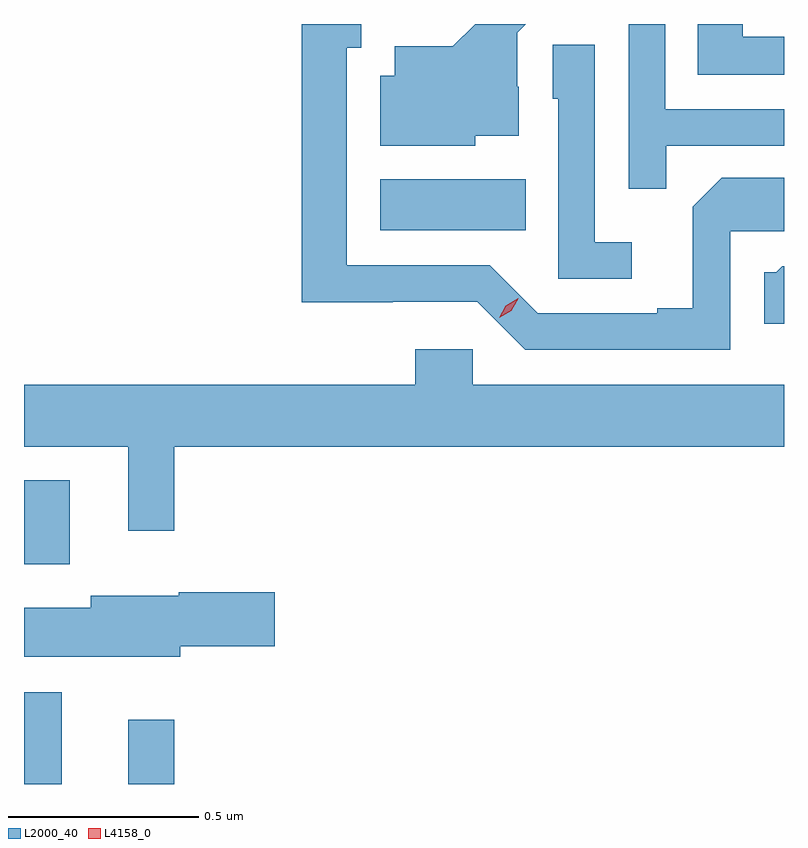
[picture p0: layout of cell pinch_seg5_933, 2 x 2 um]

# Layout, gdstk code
import gdstk
lib = gdstk.Library(unit=1e-6, precision=1e-09)
def R(c, l, rs):  # rectangles x0, y0, x1, y1
    for r in rs: c.add(gdstk.rectangle(r[:2], r[2:], *l))
def P(c, l, *ps):  # polygons
    for p in ps: c.add(gdstk.Polygon(p, *l))
L2000_40 = (2000, 40)
L4158_0 = (4158, 0)

pinch_seg5_933 = lib.new_cell('pinch_seg5_933')
R(pinch_seg5_933, L2000_40, [(737.441,877.185,737.563,877.354), (737.167,877.763,737.287,877.984), (738.104,878.642,738.488,878.776)])
P(pinch_seg5_933, L2000_40, [(739.026,878.64),(739.167,878.64),(739.167,878.78),(739.003,878.78),(738.927,878.704),(738.927,878.437),(738.833,878.437),(738.833,878.424),(738.519,878.424),(738.393,878.55),(738.016,878.55),(738.016,879.123),(738.055,879.123),(738.055,879.185),(737.898,879.185),(737.898,878.453),(738.138,878.453),(738.138,878.454),(738.36,878.454),(738.486,878.328),(739.026,878.328)],
  [(738.354,878.891),(738.469,878.891),(738.469,879.02),(738.465,879.02),(738.465,879.162),(738.488,879.185),(738.354,879.185),(738.295,879.127),(738.143,879.127),(738.143,879.049),(738.104,879.049),(738.104,878.864),(738.354,878.864)],
  [(738.857,878.865),(739.167,878.865),(739.167,878.961),(738.855,878.961),(738.855,879.185),(738.759,879.185),(738.759,878.752),(738.857,878.752)],
  [(739.167,879.152),(739.059,879.152),(739.059,879.185),(738.94,879.185),(738.94,879.051),(739.167,879.051)],
  [(738.766,878.611),(738.669,878.611),(738.669,879.131),(738.558,879.131),(738.558,878.988),(738.573,878.988),(738.573,878.514),(738.766,878.514)],
  [(739.167,878.548),(739.162,878.548),(739.146,878.532),(739.115,878.532),(739.115,878.396),(739.167,878.396)],
  [(737.563,878.072),(739.167,878.072),(739.167,878.236),(738.348,878.236),(738.348,878.329),(738.197,878.329),(738.197,878.236),(737.167,878.236),(737.167,878.072),(737.441,878.072),(737.441,877.851),(737.563,877.851)],
  [(737.578,877.547),(737.827,877.547),(737.827,877.689),(737.574,877.689),(737.574,877.681),(737.342,877.681),(737.342,877.649),(737.167,877.649),(737.167,877.52),(737.578,877.52)],
  [(737.266,877.426),(737.167,877.426),(737.167,877.262),(737.168,877.262),(737.168,877.185),(737.266,877.185)])
P(pinch_seg5_933, L4158_0, [(738.417,878.412),(738.417,878.412),(738.435,878.444),(738.467,878.463),(738.467,878.463),(738.467,878.462),(738.449,878.43),(738.417,878.412)])

lib.write_gds('pinch_seg5_933.gds')
